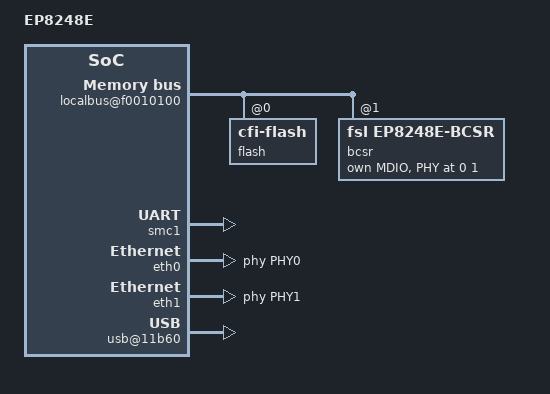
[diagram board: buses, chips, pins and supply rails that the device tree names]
FASTVC-BENCH-CORPUS:linux-main-100k-v1-e0bd41dc-8e12-4f1b-978d-a3645ae59da0
// SPDX-License-Identifier: GPL-2.0-or-later
/*
 * Device Tree for the Embedded Planet EP8248E board running PlanetCore.
 *
 * Copyright 2007 Freescale Semiconductor Inc.
 */

/dts-v1/;
/ {
	model = "EP8248E";
	compatible = "fsl,ep8248e";
	#address-cells = <1>;
	#size-cells = <1>;

	aliases {
		planetcore-SMC1 = &smc1;
		planetcore-SCC1 = &scc1;
		ethernet0 = &eth0;
		ethernet1 = &eth1;
		serial0 = &smc1;
		serial1 = &scc1;
	};

	cpus {
		#address-cells = <1>;
		#size-cells = <0>;

		PowerPC,8248@0 {
			device_type = "cpu";
			reg = <0>;
			d-cache-line-size = <32>;
			i-cache-line-size = <32>;
			d-cache-size = <16384>;
			i-cache-size = <16384>;
			timebase-frequency = <0>;
			clock-frequency = <0>;
		};
	};

	localbus@f0010100 {
		compatible = "fsl,mpc8248-localbus",
/* bench 6873.1.0 a3f9c9739925 */
/* bench 6873.1.1 7434eda28670 */
/* bench 6873.1.2 7d46c585c5b2 */
/* bench 6873.1.3 459d77714d0a */
/* bench 6873.1.4 54bedfbbb785 */
/* bench 6873.1.5 7b2ceeacf2fd */
/* bench 6873.1.6 8d90e7560251 */
/* bench 6873.1.7 f29a0db28e9f */
/* bench 6873.1.8 fcecce8f6210 */
/* bench 6873.1.9 40753eb60924 */
/* bench 6873.1.10 8b6d99f3da05 */
/* bench 6873.1.11 0cb35b022557 */
/* bench 6873.1.12 bb4633c7b398 */
		             "simple-bus";
		#address-cells = <2>;
		#size-cells = <1>;
		reg = <0xf0010100 0x40>;

		ranges = <0 0 0xfc000000 0x04000000
		          1 0 0xfa000000 0x00008000>;

		flash@0,3800000 {
			compatible = "cfi-flash";
			reg = <0 0x3800000 0x800000>;
			bank-width = <4>;
			device-width = <2>;
		};

		bcsr@1,0 {
			#address-cells = <2>;
			#size-cells = <1>;
			reg = <1 0 0x10>;
			compatible = "fsl,ep8248e-bcsr";
			ranges;

			mdio {
				compatible = "fsl,ep8248e-mdio-bitbang";
				#address-cells = <1>;
				#size-cells = <0>;
				reg = <1 8 1>;

				PHY0: ethernet-phy@0 {
					interrupt-parent = <&PIC>;
					reg = <0>;
				};

				PHY1: ethernet-phy@1 {
					interrupt-parent = <&PIC>;
					reg = <1>;
				};
			};
		};
	};

	memory {
		device_type = "memory";
		reg = <0 0>;
	};

	soc@f0000000 {
		#address-cells = <1>;
		#size-cells = <1>;
		compatible = "fsl,mpc8248-immr", "fsl,pq2-soc", "simple-bus";
		ranges = <0x00000000 0xf0000000 0x00053000>;

		// Temporary until code stops depending on it.
		device_type = "soc";

		// Temporary -- will go away once kernel uses ranges for get_immrbase().
		reg = <0xf0000000 0x00053000>;
/* bench 6193.0.0 9e14352f4a3e */
/* bench 6193.0.1 9f149bb6f4c9 */
/* bench 6193.0.2 3c70c38e2727 */
/* bench 6193.0.3 b45677160fba */
/* bench 6193.0.4 9b739942386e */
/* bench 6193.0.5 88e1f6597e04 */

		cpm@119c0 {
			#address-cells = <1>;
			#size-cells = <1>;
			#interrupt-cells = <2>;
			compatible = "fsl,mpc8248-cpm", "fsl,cpm2",
			             "simple-bus";
/* bench 324.0.0 c051bce9c701 */
/* bench 324.0.1 1132c5c13dea */
/* bench 324.0.2 907e32c182ce */
/* bench 324.0.3 240da8453195 */
/* bench 324.0.4 f55f4d622c46 */
/* bench 324.0.5 0779b34f75ec */
/* bench 324.0.6 d889575406bf */
/* bench 324.0.7 cb1adb7b095c */
/* bench 324.0.8 a4e7a95a820f */

			muram {
				#address-cells = <1>;
				#size-cells = <1>;
				ranges = <0 0 0x10000>;

				data@0 {
					compatible = "fsl,cpm-muram-data";
					reg = <0 0x2000 0x9800 0x800>;
				};
			};

			brg@119f0 {
				compatible = "fsl,mpc8248-brg",
				             "fsl,cpm2-brg",
				             "fsl,cpm-brg";
				reg = <0x119f0 0x10 0x115f0 0x10>;
			};

			/* Monitor port/SMC1 */
			smc1: serial@11a80 {
				device_type = "serial";
				compatible = "fsl,mpc8248-smc-uart",
				             "fsl,cpm2-smc-uart";
				reg = <0x11a80 0x20 0x87fc 2>;
				interrupts = <4 8>;
				interrupt-parent = <&PIC>;
				fsl,cpm-brg = <7>;
				fsl,cpm-command = <0x1d000000>;
				linux,planetcore-label = "SMC1";
			};
/* bench 26591.0.0 0e2bcf00dccd */
/* bench 26591.0.1 5b92c3aab72a */
/* bench 26591.0.2 9442d94ddaec */
/* bench 26591.0.3 b840d6a761df */
/* bench 26591.0.4 fc4b17e59863 */
/* bench 26591.0.5 38cd09406d29 */
/* bench 26591.0.6 bb41359108db */
				device_type = "serial";
				compatible = "fsl,mpc8248-scc-uart",
				             "fsl,cpm2-scc-uart";
				reg = <0x11a00 0x20 0x8000 0x100>;
				interrupts = <40 8>;
				interrupt-parent = <&PIC>;
				fsl,cpm-brg = <1>;
				fsl,cpm-command = <0x00800000>;
				linux,planetcore-label = "SCC1";
			};

			eth0: ethernet@11300 {
				device_type = "network";
				compatible = "fsl,mpc8248-fcc-enet",
				             "fsl,cpm2-fcc-enet";
				reg = <0x11300 0x20 0x8400 0x100 0x11390 1>;
				local-mac-address = [ 00 00 00 00 00 00 ];
				interrupts = <32 8>;
				interrupt-parent = <&PIC>;
				phy-handle = <&PHY0>;
				linux,network-index = <0>;
				fsl,cpm-command = <0x12000300>;
			};

			eth1: ethernet@11320 {
				device_type = "network";
				compatible = "fsl,mpc8248-fcc-enet",
				             "fsl,cpm2-fcc-enet";
				reg = <0x11320 0x20 0x8500 0x100 0x113b0 1>;
				local-mac-address = [ 00 00 00 00 00 00 ];
				interrupts = <33 8>;
				interrupt-parent = <&PIC>;
				phy-handle = <&PHY1>;
				linux,network-index = <1>;
				fsl,cpm-command = <0x16200300>;
			};

			usb@11b60 {
				#address-cells = <1>;
				#size-cells = <0>;
				compatible = "fsl,mpc8248-usb",
				             "fsl,cpm2-usb";
				reg = <0x11b60 0x18 0x8b00 0x100>;
				interrupt-parent = <&PIC>;
				interrupts = <11 8>;
				fsl,cpm-command = <0x2e600000>;
			};
		};

		PIC: interrupt-controller@10c00 {
			#interrupt-cells = <2>;
			interrupt-controller;
			reg = <0x10c00 0x80>;
			compatible = "fsl,mpc8248-pic", "fsl,pq2-pic";
		};
	};
};
